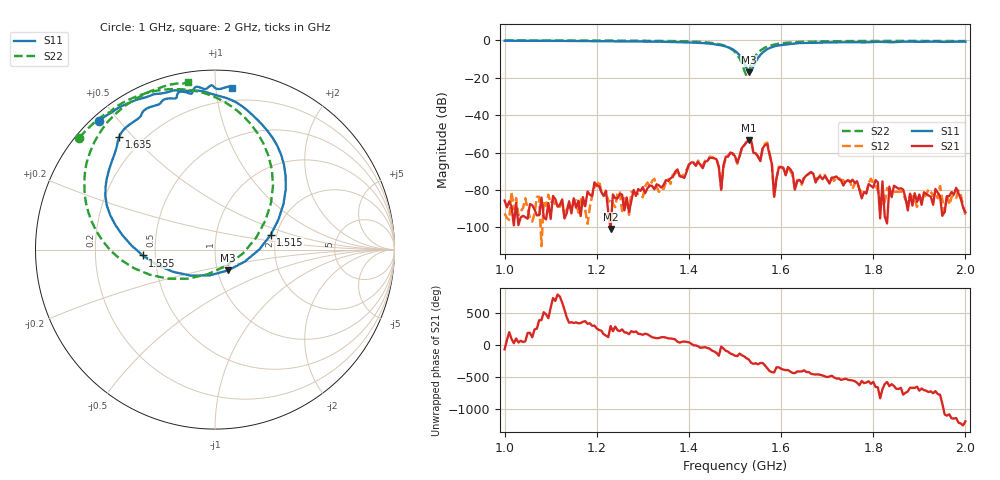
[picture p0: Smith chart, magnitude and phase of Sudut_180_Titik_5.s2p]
# Hz S RI R 50
! CMT, C1220, 16058040, 17.2.0/1
! Date: 14/08/2018 11:48:56
! Data: Format (Calibration Info)
! Freq  S11: Re/Im (F2)  S21: Re/Im (F2)  S12: Re/Im (F2)  S22: Re/Im (F2)
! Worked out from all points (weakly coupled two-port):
!   201 points, 1 GHz to 2 GHz, reference 50 ohm
!   highest |S21| = -53.28 dB at 1.53 GHz (marker M1); lowest = -100.8 dB at 1.23 GHz (marker M2)
!   lowest |S11| = -17.3 dB at 1.53 GHz (marker M3), VSWR 1.32, Z = 56.2 - j13.3 ohm
!   |S11| at or under -10 dB: 1.515 GHz to 1.549 GHz (33.42 MHz wide, 2.18 % of centre)
!   |S22| runs from -19.2 to -0.2 dB; largest |S21 - S12| = 0.00019
!   S11 on the Smith chart (normalised r, x): 1 GHz: 0.02, +0.44; 1.515 GHz: 1.86, +0.34; 1.555 GHz: 0.42, -0.03; 1.635 GHz: 0.12, +0.46; 2 GHz: 0.11, +1.11
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1e9  -0.6476 0.7148  1.9e-05 -4.88e-05  9.49e-06 -2.17e-05  -0.7549 0.6245
1.17e9  -0.4679 0.8221  6.45e-05 -2.55e-06  4.1e-05 2.92e-06  -0.6181 0.7507
1.23e9  -0.3844 0.8489  3.19e-06 -8.5e-06  6.59e-06 -5.93e-05  -0.5622 0.7879
1.325e9  -0.2183 0.887  -3.47e-05 9.81e-05  -9.05e-05 0.000178  -0.4206 0.8595
1.335e9  -0.2035 0.8857  -3.54e-05 0.000128  -1.61e-05 8.71e-05  -0.4007 0.8663
1.445e9  0.162 0.7904  0.000363 -0.000623  0.000315 -0.000708  -0.00924 0.8535
1.46e9  0.2349 0.7248  -0.000386 -0.000531  -0.000444 -0.000481  0.0897 0.7991
1.47e9  0.2925 0.6615  9.02e-05 -4.56e-05  0.000106 -1.79e-05  0.1622 0.7397
1.48e9  0.3469 0.5786  -2.07e-05 -0.000772  -1.23e-05 -0.00073  0.2357 0.6502
1.5e9  0.394 0.3348  -0.000778 -0.000161  -0.00072 -0.000149  0.3232 0.3561
1.515e9  0.3099 0.0815  -0.00127 -0.000404  -0.00127 -0.000458  0.2287 0.0653
1.53e9  0.0729 -0.1159  -0.00147 0.00159  -0.0014 0.00162  -0.0426 -0.1377
1.555e9  -0.4028 -0.0324  0.000112 0.000579  9.58e-05 0.000609  -0.5219 -0.0586
1.57e9  -0.5546 0.1365  0.00166 -5.33e-05  0.00184 -4.17e-05  -0.662 0.1043
1.585e9  -0.6105 0.298  2.52e-05 -6.14e-05  3.36e-05 -5.72e-05  -0.7177 0.255
1.595e9  -0.6033 0.3945  0.00038 7.55e-05  0.000399 0.000131  -0.7274 0.3391
1.62e9  -0.5498 0.5647  0.000206 -0.000293  0.00019 -0.000268  -0.7121 0.4947
1.63e9  -0.5402 0.608  2.07e-05 -0.0001  3.59e-05 -9.47e-05  -0.6968 0.5413
1.635e9  -0.5339 0.6284  0.000103 -0.000137  9.5e-05 -0.000159  -0.6885 0.5621
1.67e9  -0.4301 0.7282  -2.97e-05 -0.000268  -5.76e-05 -0.000263  -0.6277 0.672
1.835e9  -0.1386 0.8689  2.09e-05 0.000121  6.83e-05 6.2e-05  -0.377 0.8743
2e9  0.0963 0.9029  -6.07e-06 -2.47e-05  6.52e-06 -2.1e-05  -0.1518 0.9342
